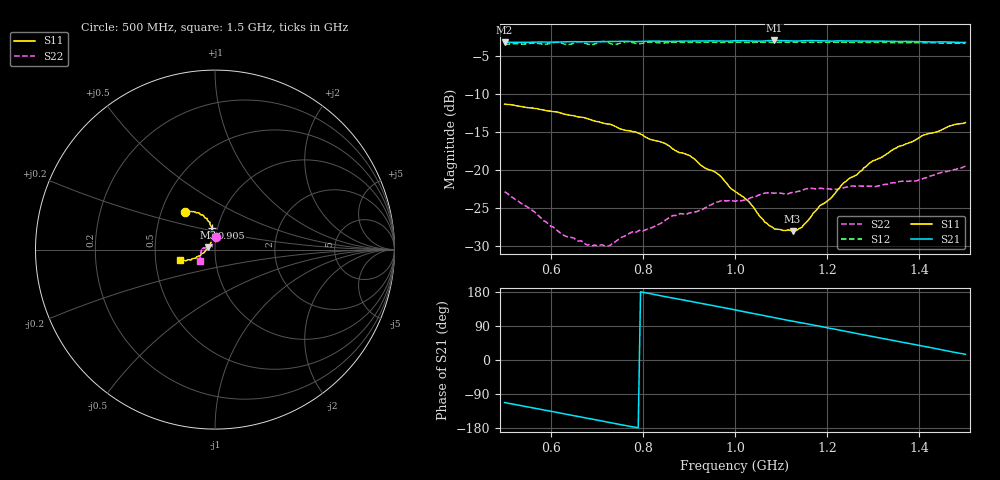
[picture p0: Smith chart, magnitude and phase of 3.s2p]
#  HZ  S  DB  R  50.00
! Rohde & Schwarz Vector Network Analyzer
! Rohde-Schwarz,ZNC3-2Port,1311600412101323,1.94
! Created: UTC 6/24/2025, 10:56:45 PM
!The following Port Impedance Renormalization has been used when saving the data.
!PortZ  Port1:50+j0  Port2:50+j0
! freq[Hz]  db:S11  ang:S11  db:S21  ang:S21  db:S12  ang:S12  db:S22  ang:S22
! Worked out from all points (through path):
!   201 points, 500 MHz to 1.5 GHz, reference 50 ohm
!   highest |S21| = -3.01 dB at 1.085 GHz (marker M1); lowest = -3.3 dB at 500 MHz (marker M2)
!   group delay of S21, straight-line fit = 648 ps
!   lowest |S11| = -28.1 dB at 1.125 GHz (marker M3), VSWR 1.08, Z = 46.4 + j1.17 ohm
!   |S11| at or under -10 dB: start of sweep to end of sweep
!   |S22| runs from -30.0 to -19.5 dB; largest |S21 - S12| = 0.031
!   S11 on the Smith chart (normalised r, x): 500 MHz: 0.66, +0.30; 905 MHz: 0.94, +0.23; 1.5 GHz: 0.67, -0.08
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5e8  -11.38 128.6  -3.28 -112.2  -3.52 -112.8  -22.90 85.5
6.05e8  -12.37 119.2  -3.24 -136.4  -3.31 -135.9  -27.52 97.3
6.55e8  -12.99 113.9  -3.18 -148.1  -3.25 -147.1  -29.21 110.7
6.7e8  -13.12 113.3  -3.18 -151.6  -3.27 -152.6  -29.48 117.5
6.9e8  -13.51 112.5  -3.18 -156.0  -3.56 -155.8  -30.01 127.5
7.05e8  -13.69 110.2  -3.16 -159.5  -3.24 -158.3  -29.95 133.3
7.25e8  -14.00 108.7  -3.15 -164.4  -3.32 -165.3  -30.04 139.2
7.5e8  -14.63 107.7  -3.13 -170.2  -3.39 -168.7  -28.98 145.9
7.7e8  -14.87 104.7  -3.15 -174.7  -3.17 -175.1  -28.39 151.0
8.35e8  -16.27 100.5  -3.11 170.4  -3.33 169.6  -27.16 160.7
8.65e8  -17.27 100.4  -3.13 163.6  -3.25 163.2  -26.02 165.9
9.05e8  -18.29 98.3  -3.09 154.3  -3.27 153.7  -25.64 170.6
9.7e8  -20.94 99.8  -3.10 139.3  -3.29 138.0  -24.07 172.3
1e9  -22.85 101.2  -3.06 132.4  -3.22 131.3  -24.14 174.4
1.085e9  -27.77 129.5  -3.01 111.7  -3.27 112.3  -23.09 177.3
1.125e9  -28.07 161.4  -3.09 102.6  -3.23 102.3  -22.97 177.3
1.145e9  -27.58 173.5  -3.06 98.3  -3.25 97.5  -22.70 177.5
1.17e9  -25.70 -175.9  -3.03 92.4  -3.23 91.5  -22.47 -179.3
1.245e9  -21.29 -158.3  -3.08 74.4  -3.25 74.0  -22.26 -175.2
1.335e9  -17.69 -157.7  -3.12 53.5  -3.30 53.0  -21.78 -165.9
1.425e9  -15.21 -159.2  -3.21 32.6  -3.31 32.1  -20.80 -154.4
1.5e9  -13.82 -162.7  -3.27 15.0  -3.40 15.2  -19.52 -144.3
